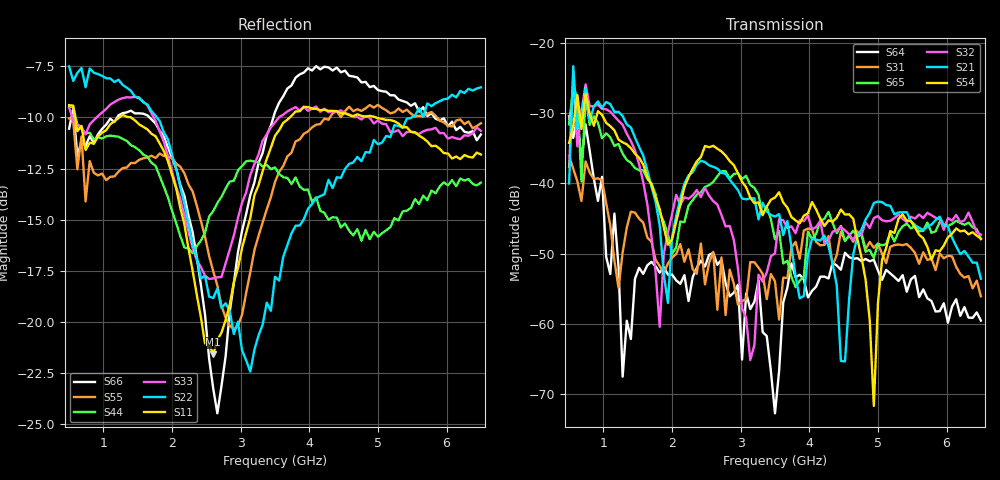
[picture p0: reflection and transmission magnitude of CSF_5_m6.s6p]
!Keysight Technologies,M9804A,MY58100912,A.14.10.03
!Date: Thursday, April 27, 2023 10:28:33
!Correction: S11(C  6-Port  )
!S12(C  6-Port  )
!S13(C  6-Port  )
!S14(C  6-Port  )
!S15(C  6-Port  )
!S16(C  6-Port  )
!S21(C  6-Port  )
!S22(C  6-Port  )
!S23(C  6-Port  )
!S24(C  6-Port  )
!S25(C  6-Port  )
!S26(C  6-Port  )
!S31(C  6-Port  )
!S32(C  6-Port  )
!S33(C  6-Port  )
!S34(C  6-Port  )
!S35(C  6-Port  )
!S36(C  6-Port  )
!S41(C  6-Port  )
!S42(C  6-Port  )
!S43(C  6-Port  )
!S44(C  6-Port  )
!S45(C  6-Port  )
!S46(C  6-Port  )
!S51(C  6-Port  )
!S52(C  6-Port  )
!S53(C  6-Port  )
!S54(C  6-Port  )
!S55(C  6-Port  )
!S56(C  6-Port  )
!S61(C  6-Port  )
!S62(C  6-Port  )
!S63(C  6-Port  )
!S64(C  6-Port  )
!S65(C  6-Port  )
!S66(C  6-Port  )
!S6P File: Measurement: :
# Hz S  RI  R 50
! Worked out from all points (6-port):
!   101 points, 500 MHz to 6.5 GHz, reference 50 ohm
!   strongest paths, dB at 500 MHz, 2 GHz, 3.5 GHz, 5 GHz, 6.5 GHz:
!     S54: -34.2, -47.9, -42.0, -57.0, -47.9
!     S21: -40.0, -47.6, -44.7, -42.6, -53.5
!     S32: -37.6, -44.4, -49.9, -44.6, -47.3
!     S65: -31.6, -50.0, -48.0, -48.6, -47.9
!     S31: -36.1, -50.6, -53.9, -48.5, -56.1
!     S64: -30.4, -53.0, -72.7, -52.4, -59.5
!   lowest |S11| = -21.6 dB at 2.6 GHz (marker M1), VSWR 1.18, Z = 42.6 + j2.07 ohm
!   |S11| at or under -10 dB: 587.9 MHz to 1.233 GHz (645.6 MHz wide, 70.9 % of centre); 1.402 GHz to 3.715 GHz (2.313 GHz wide, 90.4 % of centre); 4.971 GHz to end of sweep
